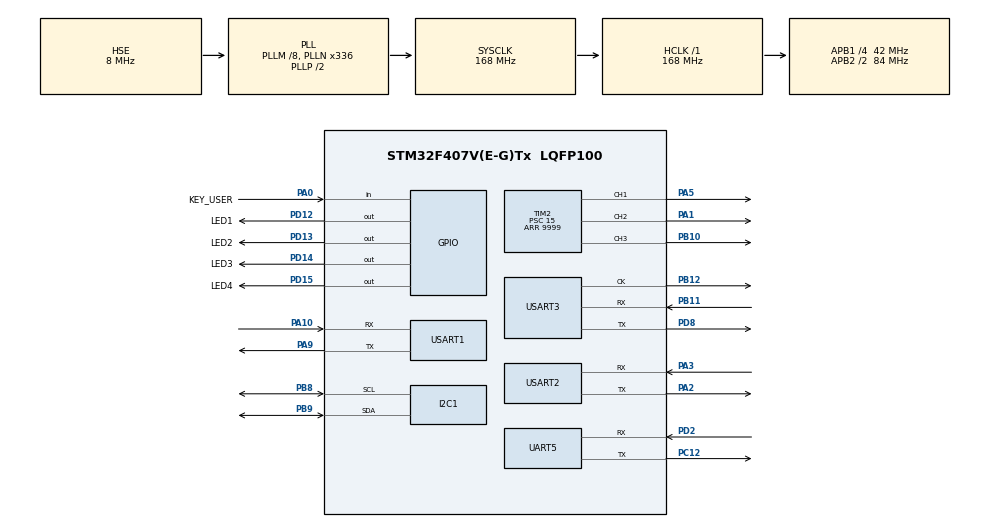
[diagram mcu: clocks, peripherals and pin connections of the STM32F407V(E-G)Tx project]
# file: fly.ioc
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Dma.Request0=USART3_TX
Dma.USART3_TX.0.Direction=DMA_MEMORY_TO_PERIPH
Dma.USART3_TX.0.FIFOMode=DMA_FIFOMODE_DISABLE
Dma.USART3_TX.0.Instance=DMA1_Stream3
Dma.USART3_TX.0.MemDataAlignment=DMA_MDATAALIGN_BYTE
Dma.USART3_TX.0.MemInc=DMA_MINC_ENABLE
Dma.USART3_TX.0.Mode=DMA_NORMAL
Dma.USART3_TX.0.PeriphDataAlignment=DMA_PDATAALIGN_BYTE
Dma.USART3_TX.0.PeriphInc=DMA_PINC_DISABLE
Dma.USART3_TX.0.Priority=DMA_PRIORITY_LOW
FREERTOS.Tasks01=Task_LED,0,128,Function_LED,Default,NULL,Dynamic,NULL,NULL;Task_PWM,2,128,Function_PWM,Default,NULL,Dynamic,NULL,NULL;Task_USART,2,128,Function_USART,Default,NULL,Dynamic,NULL,NULL
Mcu.Family=STM32F4
Mcu.Name=STM32F407V(E-G)Tx
Mcu.Package=LQFP100
NVIC.DMA1_Stream3_IRQn=true\:5\:0\:false\:false\:true\:true\:false
NVIC.PriorityGroup=NVIC_PRIORITYGROUP_4
NVIC.TIM4_IRQn=true\:0\:0\:false\:false\:true\:false\:true
NVIC.TimeBase=TIM4_IRQn
NVIC.TimeBaseIP=TIM4
NVIC.USART1_IRQn=true\:5\:0\:false\:false\:true\:true\:true
PA0-WKUP.GPIO_Label=KEY_USER
PA0-WKUP.GPIO_PuPd=GPIO_PULLDOWN
PA0-WKUP.Signal=GPIO_Input
PA1.Signal=S_TIM2_CH2
PA10.Mode=Asynchronous
PA10.Signal=USART1_RX
PA13.Mode=Serial_Wire
PA13.Signal=SYS_JTMS-SWDIO
PA14.Mode=Serial_Wire
PA14.Signal=SYS_JTCK-SWCLK
PA2.Mode=Asynchronous
PA2.Signal=USART2_TX
PA3.Mode=Asynchronous
PA3.Signal=USART2_RX
PA5.Signal=S_TIM2_CH1_ETR
PA9.Mode=Asynchronous
PA9.Signal=USART1_TX
PB10.Signal=S_TIM2_CH3
PB11.Mode=Synchronous
PB11.Signal=USART3_RX
PB12.Mode=Synchronous
PB12.Signal=USART3_CK
PB8.Mode=I2C
PB8.Signal=I2C1_SCL
PB9.Mode=I2C
PB9.Signal=I2C1_SDA
PC12.Mode=Asynchronous
PC12.Signal=UART5_TX
PD12.GPIO_Label=LED1
PD12.Signal=GPIO_Output
PD13.GPIO_Label=LED2
PD13.Signal=GPIO_Output
PD14.GPIO_Label=LED3
PD14.Signal=GPIO_Output
PD15.GPIO_Label=LED4
PD15.Signal=GPIO_Output
PD2.Mode=Asynchronous
PD2.Signal=UART5_RX
PD8.Mode=Synchronous
PD8.Signal=USART3_TX
PH0-OSC_IN.Mode=HSE-External-Oscillator
PH0-OSC_IN.Signal=RCC_OSC_IN
PH1-OSC_OUT.Mode=HSE-External-Oscillator
PH1-OSC_OUT.Signal=RCC_OSC_OUT
ProjectManager.HeapSize=0x200
ProjectManager.StackSize=0x400
ProjectManager.TargetToolchain=SW4STM32
RCC.48MHZClocksFreq_Value=84000000
RCC.AHBFreq_Value=168000000
RCC.APB1CLKDivider=RCC_HCLK_DIV4
RCC.APB1Freq_Value=42000000
RCC.APB1TimFreq_Value=84000000
RCC.APB2CLKDivider=RCC_HCLK_DIV2
RCC.APB2Freq_Value=84000000
RCC.APB2TimFreq_Value=168000000
RCC.CortexFreq_Value=168000000
RCC.HCLKFreq_Value=168000000
RCC.HSE_VALUE=8000000
RCC.HSI_VALUE=16000000
RCC.LSE_VALUE=32768
RCC.PLLM=8
RCC.PLLN=336
RCC.PLLSourceVirtual=RCC_PLLSOURCE_HSE
RCC.SYSCLKFreq_VALUE=168000000
RCC.SYSCLKSource=RCC_SYSCLKSOURCE_PLLCLK
RCC.VCOOutputFreq_Value=336000000
SH.S_TIM2_CH1_ETR.0=TIM2_CH1,PWM Generation1 CH1
SH.S_TIM2_CH2.0=TIM2_CH2,PWM Generation2 CH2
SH.S_TIM2_CH3.0=TIM2_CH3,PWM Generation3 CH3
TIM2.Channel-PWM\ Generation1\ CH1=TIM_CHANNEL_1
TIM2.Channel-PWM\ Generation2\ CH2=TIM_CHANNEL_2
TIM2.Channel-PWM\ Generation3\ CH3=TIM_CHANNEL_3
TIM2.Channel-PWM\ Generation4\ CH4=TIM_CHANNEL_4
TIM2.Period=9999
TIM2.Prescaler=15
UART5.VirtualMode=Asynchronous
USART1.VirtualMode=VM_ASYNC
USART2.VirtualMode=VM_ASYNC
USART3.VirtualMode=VM_SYNC
VP_FREERTOS_VS_ENABLE.Mode=Enabled
VP_SYS_VS_tim4.Mode=TIM4
board=fly

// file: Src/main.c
/**
  ******************************************************************************
  * @file           : main.c
  * @brief          : Main program body
  ******************************************************************************
  * This notice applies to any and all portions of this file
  * that are not between comment pairs USER CODE BEGIN and
  * USER CODE END. Other portions of this file, whether
  * inserted by the user or by software development tools
  * are owned by their respective copyright owners.
  *
  * Copyright (c) 2018 STMicroelectronics International N.V.
  * All rights reserved.
  *
  * Redistribution and use in source and binary forms, with or without
  * modification, are permitted, provided that the following conditions are met:
  *
  * 1. Redistribution of source code must retain the above copyright notice,
  *    this list of conditions and the following disclaimer.
  * 2. Redistributions in binary form must reproduce the above copyright notice,
  *    this list of conditions and the following disclaimer in the documentation
  *    and/or other materials provided with the distribution.
  * 3. Neither the name of STMicroelectronics nor the names of other
  *    contributors to this software may be used to endorse or promote products
  *    derived from this software without specific written permission.
  * 4. This software, including modifications and/or derivative works of this
  *    software, must execute solely and exclusively on microcontroller or
  *    microprocessor devices manufactured by or for STMicroelectronics.
  * 5. Redistribution and use of this software other than as permitted under
  *    this license is void and will automatically terminate your rights under
  *    this license.
  *
  * THIS SOFTWARE IS PROVIDED BY STMICROELECTRONICS AND CONTRIBUTORS "AS IS"
  * AND ANY EXPRESS, IMPLIED OR STATUTORY WARRANTIES, INCLUDING, BUT NOT
  * LIMITED TO, THE IMPLIED WARRANTIES OF MERCHANTABILITY, FITNESS FOR A
  * PARTICULAR PURPOSE AND NON-INFRINGEMENT OF THIRD PARTY INTELLECTUAL PROPERTY
  * RIGHTS ARE DISCLAIMED TO THE FULLEST EXTENT PERMITTED BY LAW. IN NO EVENT
  * SHALL STMICROELECTRONICS OR CONTRIBUTORS BE LIABLE FOR ANY DIRECT, INDIRECT,
  * INCIDENTAL, SPECIAL, EXEMPLARY, OR CONSEQUENTIAL DAMAGES (INCLUDING, BUT NOT
  * LIMITED TO, PROCUREMENT OF SUBSTITUTE GOODS OR SERVICES; LOSS OF USE, DATA,
  * OR PROFITS; OR BUSINESS INTERRUPTION) HOWEVER CAUSED AND ON ANY THEORY OF
  * LIABILITY, WHETHER IN CONTRACT, STRICT LIABILITY, OR TORT (INCLUDING
  * NEGLIGENCE OR OTHERWISE) ARISING IN ANY WAY OUT OF THE USE OF THIS SOFTWARE,
  * EVEN IF ADVISED OF THE POSSIBILITY OF SUCH DAMAGE.
  *
  ******************************************************************************
  */
#include "main.h"
#include "stm32f4xx_hal.h"
#include "cmsis_os.h"
#include "dma.h"
#include "i2c.h"
#include "tim.h"
#include "usart.h"
#include "gpio.h"

/* USER CODE BEGIN Includes */
//#include "defines.h"
#include "tm_stm32_disco.h"
#include "tm_stm32_delay.h"
#include "tm_stm32_mpu9250.h"
#include "tm_stm32_usart.h"
#include "tm_stm32_exti.h"
#include "tm_stm32_ahrs_imu.h"
#include "stdio.h"
/* USER CODE END Includes */

/* USER CODE BEGIN PV */
/* Private variables ---------------------------------------------------------*/

/* USER CODE END PV */

void SystemClock_Config(void);
void MX_FREERTOS_Init(void);

/* USER CODE BEGIN PFP */
/* Private function prototypes -----------------------------------------------*/

/* USER CODE END PFP */

int main(void)
{

  /* MCU Configuration----------------------------------------------------------*/

  /* Reset of all peripherals, Initializes the Flash interface and the Systick. */
  HAL_Init();

  /* Configure the system clock */
  SystemClock_Config();

  /* Initialize all configured peripherals */
  MX_GPIO_Init();
  MX_DMA_Init();
  MX_TIM2_Init();
  MX_I2C1_Init();
  MX_USART2_UART_Init();
  MX_USART1_UART_Init();
  MX_USART3_Init();
  MX_UART5_Init();

  /* Call init function for freertos objects (in freertos.c) */
  MX_FREERTOS_Init();

  /* Start scheduler */
  osKernelStart();

  /* We should never get here as control is now taken by the scheduler */

  /* Infinite loop */
  while (1)
  {

  }

}

void SystemClock_Config(void)
{

  RCC_OscInitTypeDef RCC_OscInitStruct;
  RCC_ClkInitTypeDef RCC_ClkInitStruct;

    /**Configure the main internal regulator output voltage
    */
  __HAL_RCC_PWR_CLK_ENABLE();

  __HAL_PWR_VOLTAGESCALING_CONFIG(PWR_REGULATOR_VOLTAGE_SCALE1);

    /**Initializes the CPU, AHB and APB busses clocks
    */
  RCC_OscInitStruct.OscillatorType = RCC_OSCILLATORTYPE_HSE;
  RCC_OscInitStruct.HSEState = RCC_HSE_ON;
  RCC_OscInitStruct.PLL.PLLState = RCC_PLL_ON;
  RCC_OscInitStruct.PLL.PLLSource = RCC_PLLSOURCE_HSE;
  RCC_OscInitStruct.PLL.PLLM = 8;
  RCC_OscInitStruct.PLL.PLLN = 336;
  RCC_OscInitStruct.PLL.PLLP = RCC_PLLP_DIV2;
  RCC_OscInitStruct.PLL.PLLQ = 4;
  if (HAL_RCC_OscConfig(&RCC_OscInitStruct) != HAL_OK)
  {
    _Error_Handler(__FILE__, __LINE__);
  }

    /**Initializes the CPU, AHB and APB busses clocks
    */
  RCC_ClkInitStruct.ClockType = RCC_CLOCKTYPE_HCLK|RCC_CLOCKTYPE_SYSCLK
                              |RCC_CLOCKTYPE_PCLK1|RCC_CLOCKTYPE_PCLK2;
  RCC_ClkInitStruct.SYSCLKSource = RCC_SYSCLKSOURCE_PLLCLK;
  RCC_ClkInitStruct.AHBCLKDivider = RCC_SYSCLK_DIV1;
  RCC_ClkInitStruct.APB1CLKDivider = RCC_HCLK_DIV4;
  RCC_ClkInitStruct.APB2CLKDivider = RCC_HCLK_DIV2;

  if (HAL_RCC_ClockConfig(&RCC_ClkInitStruct, FLASH_LATENCY_5) != HAL_OK)
  {
    _Error_Handler(__FILE__, __LINE__);
  }

    /**Configure the Systick interrupt time
    */
  HAL_SYSTICK_Config(HAL_RCC_GetHCLKFreq()/1000);

    /**Configure the Systick
    */
  HAL_SYSTICK_CLKSourceConfig(SYSTICK_CLKSOURCE_HCLK);

  /* SysTick_IRQn interrupt configuration */
  HAL_NVIC_SetPriority(SysTick_IRQn, 15, 0);
}

void HAL_TIM_PeriodElapsedCallback(TIM_HandleTypeDef *htim)
{
  if (htim->Instance == TIM4) {
    HAL_IncTick();
  }
}

void _Error_Handler(char *file, int line)
{
  while(1)
  {
  }
}

/************************ (C) COPYRIGHT STMicroelectronics *****END OF FILE****/

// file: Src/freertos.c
/**
  ******************************************************************************
  * File Name          : freertos.c
  * Description        : Code for freertos applications
  ******************************************************************************
  * This notice applies to any and all portions of this file
  * that are not between comment pairs USER CODE BEGIN and
  * USER CODE END. Other portions of this file, whether
  * inserted by the user or by software development tools
  * are owned by their respective copyright owners.
  *
  * Copyright (c) 2018 STMicroelectronics International N.V.
  * All rights reserved.
  *
  * Redistribution and use in source and binary forms, with or without
  * modification, are permitted, provided that the following conditions are met:
  *
  * 1. Redistribution of source code must retain the above copyright notice,
  *    this list of conditions and the following disclaimer.
  * 2. Redistributions in binary form must reproduce the above copyright notice,
  *    this list of conditions and the following disclaimer in the documentation
  *    and/or other materials provided with the distribution.
  * 3. Neither the name of STMicroelectronics nor the names of other
  *    contributors to this software may be used to endorse or promote products
  *    derived from this software without specific written permission.
  * 4. This software, including modifications and/or derivative works of this
  *    software, must execute solely and exclusively on microcontroller or
  *    microprocessor devices manufactured by or for STMicroelectronics.
  * 5. Redistribution and use of this software other than as permitted under
  *    this license is void and will automatically terminate your rights under
  *    this license.
  *
  * THIS SOFTWARE IS PROVIDED BY STMICROELECTRONICS AND CONTRIBUTORS "AS IS"
  * AND ANY EXPRESS, IMPLIED OR STATUTORY WARRANTIES, INCLUDING, BUT NOT
  * LIMITED TO, THE IMPLIED WARRANTIES OF MERCHANTABILITY, FITNESS FOR A
  * PARTICULAR PURPOSE AND NON-INFRINGEMENT OF THIRD PARTY INTELLECTUAL PROPERTY
  * RIGHTS ARE DISCLAIMED TO THE FULLEST EXTENT PERMITTED BY LAW. IN NO EVENT
  * SHALL STMICROELECTRONICS OR CONTRIBUTORS BE LIABLE FOR ANY DIRECT, INDIRECT,
  * INCIDENTAL, SPECIAL, EXEMPLARY, OR CONSEQUENTIAL DAMAGES (INCLUDING, BUT NOT
  * LIMITED TO, PROCUREMENT OF SUBSTITUTE GOODS OR SERVICES; LOSS OF USE, DATA,
  * OR PROFITS; OR BUSINESS INTERRUPTION) HOWEVER CAUSED AND ON ANY THEORY OF
  * LIABILITY, WHETHER IN CONTRACT, STRICT LIABILITY, OR TORT (INCLUDING
  * NEGLIGENCE OR OTHERWISE) ARISING IN ANY WAY OUT OF THE USE OF THIS SOFTWARE,
  * EVEN IF ADVISED OF THE POSSIBILITY OF SUCH DAMAGE.
  *
  ******************************************************************************
  */

#include "FreeRTOS.h"
#include "task.h"
#include "cmsis_os.h"

/* USER CODE BEGIN Includes */
#include "stm32f4xx_hal.h"
#include "usart.h"
#include "tim.h"
/* USER CODE END Includes */

osThreadId Task_LEDHandle;
osThreadId Task_PWMHandle;
osThreadId Task_USARTHandle;

void Function_LED(void const * argument);
void Function_PWM(void const * argument);
void Function_USART(void const * argument);

void MX_FREERTOS_Init(void); /* (MISRA C 2004 rule 8.1) */

/* USER CODE BEGIN FunctionPrototypes */
extern int buffer[25];
float _channels[16];
/* USER CODE END FunctionPrototypes */

/* Hook prototypes */

/* Init FreeRTOS */

void MX_FREERTOS_Init(void) {

  /* Create the thread(s) */
  /* definition and creation of Task_LED */
  osThreadDef(Task_LED, Function_LED, osPriorityNormal, 0, 128);
  Task_LEDHandle = osThreadCreate(osThread(Task_LED), NULL);

  /* definition and creation of Task_PWM */
  osThreadDef(Task_PWM, Function_PWM, osPriorityHigh, 0, 128);
  Task_PWMHandle = osThreadCreate(osThread(Task_PWM), NULL);

  /* definition and creation of Task_USART */
  osThreadDef(Task_USART, Function_USART, osPriorityHigh, 0, 128);
  Task_USARTHandle = osThreadCreate(osThread(Task_USART), NULL);

}

/* Function_LED function */
void Function_LED(void const * argument)
{

  /* USER CODE BEGIN Function_LED */

  /* Infinite loop */
  for(;;)
  {

		if(_channels[0]>0 && _channels[0]<500)
{
	HAL_GPIO_WritePin(GPIOD, LED1_Pin, GPIO_PIN_SET);
	HAL_GPIO_WritePin(GPIOD, LED2_Pin|LED3_Pin|LED4_Pin, GPIO_PIN_RESET);
}

if(_channels[0]>500 && _channels[0]<1000)
{
	HAL_GPIO_WritePin(GPIOD, LED1_Pin|LED2_Pin, GPIO_PIN_SET);
	HAL_GPIO_WritePin(GPIOD, LED3_Pin|LED4_Pin, GPIO_PIN_RESET);
}
if(_channels[0]>1000 && _channels[0]<1500)
{
	HAL_GPIO_WritePin(GPIOD, LED1_Pin|LED2_Pin|LED3_Pin, GPIO_PIN_SET);
	HAL_GPIO_WritePin(GPIOD, LED4_Pin, GPIO_PIN_RESET);
}
if(_channels[0]>1500 && _channels[0]<2000)
{
	HAL_GPIO_WritePin(GPIOD, LED1_Pin|LED2_Pin|LED3_Pin|LED4_Pin, GPIO_PIN_SET);
}

    osDelay(1);
  }
  /* USER CODE END Function_LED */
}

/* Function_PWM function */
void Function_PWM(void const * argument)
{
  /* USER CODE BEGIN Function_PWM */

	   HAL_TIM_PWM_Start  ( &htim2,  TIM_CHANNEL_1 );
		 HAL_TIM_PWM_Start  ( &htim2,  TIM_CHANNEL_2 );
		 HAL_TIM_PWM_Start  ( &htim2,  TIM_CHANNEL_3 );
		 HAL_TIM_PWM_Start  ( &htim2,  TIM_CHANNEL_4 );

  /* Infinite loop */
  for(;;)
  {

		TIM2->CCR1 = TIM2->CCR2 = TIM2->CCR3 = TIM2->CCR4 = _channels[0]*2.5f+4000.0f ;

    osDelay(1);
  }
  /* USER CODE END Function_PWM */
}

/* Function_USART function */
void Function_USART(void const * argument)
{
  /* USER CODE BEGIN Function_USART */
	uint8_t DataBuffer;
  /* Infinite loop */
  for(;;)
  {
	//	HAL_UART_Receive_IT(&huart1, (uint8_t *)&DataBuffer, 0xff);

		  _channels[0]  = ((buffer[1]    |buffer[2]<<8)                 & 0x07FF);
			_channels[1]  = ((buffer[2]>>3 |buffer[3]<<5)                 & 0x07FF);
			_channels[2]  = ((buffer[3]>>6 |buffer[4]<<2 |buffer[5]<<10)  & 0x07FF);
			_channels[3]  = ((buffer[5]>>1 |buffer[6]<<7)                 & 0x07FF);
			_channels[4]  = ((buffer[6]>>4 |buffer[7]<<4)                 & 0x07FF);
			_channels[5]  = ((buffer[7]>>7 |buffer[8]<<1 |buffer[9]<<9)   & 0x07FF);
			_channels[6]  = ((buffer[9]>>2 |buffer[10]<<6)                & 0x07FF);
			_channels[7]  = ((buffer[10]>>5|buffer[11]<<3)                & 0x07FF);
			_channels[8]  = ((buffer[12]   |buffer[13]<<8)                & 0x07FF);
			_channels[9]  = ((buffer[13]>>3|buffer[14]<<5)                & 0x07FF);
			_channels[10] = ((buffer[14]>>6|buffer[15]<<2|buffer[16]<<10) & 0x07FF);
			_channels[11] = ((buffer[16]>>1|buffer[17]<<7)                & 0x07FF);
			_channels[12] = ((buffer[17]>>4|buffer[18]<<4)                & 0x07FF);
			_channels[13] = ((buffer[18]>>7|buffer[19]<<1|buffer[20]<<9)  & 0x07FF);
			_channels[14] = ((buffer[20]>>2|buffer[21]<<6)                & 0x07FF);
			_channels[15] = ((buffer[21]>>5|buffer[22]<<3)                & 0x07FF);

      osDelay(1);
	}
  /* USER CODE END Function_USART */
}

/************************ (C) COPYRIGHT STMicroelectronics *****END OF FILE****/
